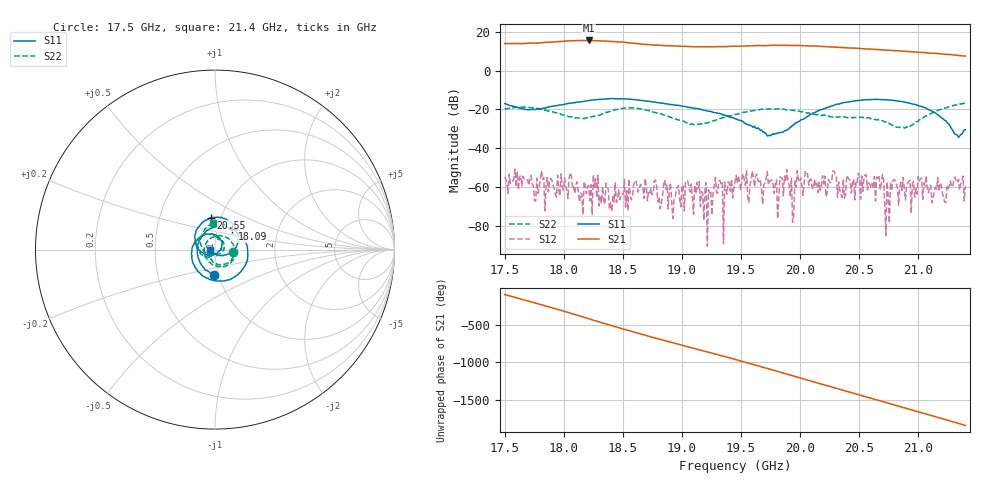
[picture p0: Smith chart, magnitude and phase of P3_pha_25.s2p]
!Created with skrf (http://scikit-rf.org).
# GHz S RI R 50.0
!freq ReS11 ImS11 ReS21 ImS21 ReS12 ImS12 ReS22 ImS22
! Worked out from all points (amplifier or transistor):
!   401 points, 17.5 GHz to 21.4 GHz, reference 50 ohm
!   highest |S21| = 15.6 dB at 18.21 GHz (marker M1)
!   |S21| within 3 dB of that: start of sweep to 18.97 GHz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
!   unconditionally stable (mu >= 1): start of sweep to end of sweep
!   at 18.14 GHz: K = 115.85, MAG = 15.7 dB, |S12| = -63.1 dB
!   at 19.45 GHz: K = 87.22, MAG = 12.7 dB, |S12| = -57.6 dB
!   at 21.4 GHz: K = 193.72, MAG = 7.7 dB, |S12| = -59.5 dB
!   S11 on the Smith chart (normalised r, x): 17.5 GHz: 0.95, -0.28; 18.09 GHz: 1.18, +0.27; 20.55 GHz: 0.90, +0.33; 21.4 GHz: 0.94, -0.00
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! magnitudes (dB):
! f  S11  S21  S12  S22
! 17.5 GHz  -16.9  14.0  -54.9  -19.8
! 18.09 GHz  -16.6  15.5  -63.5  -24.4
! 18.15 GHz  -16.0  15.6  -63.8  -24.7
! 18.21 GHz  -15.4  15.6  -59.3  -24.2
! 18.41 GHz  -14.4  15.2  -72.8  -20.7
! 18.77 GHz  -16.2  13.2  -56.7  -21.5
! 18.81 GHz  -16.5  13.2  -65.0  -22.2
! 19.05 GHz  -18.9  12.5  -56.9  -26.8
! 19.24 GHz  -20.9  12.3  -63.8  -26.6
! 19.3 GHz  -22.0  12.5  -63.2  -25.1
! 19.45 GHz  -24.7  12.7  -57.6  -22.6
! 19.74 GHz  -33.3  13.2  -56.7  -19.7
! 19.8 GHz  -32.4  13.1  -56.3  -19.7
! 19.89 GHz  -30.7  13.1  -51.0  -20.2
! 19.93 GHz  -29.0  13.1  -55.5  -20.5
! 19.98 GHz  -26.5  13.1  -51.7  -20.9
! 20.1 GHz  -22.3  12.7  -60.4  -22.4
! 20.55 GHz  -15.0  11.3  -53.6  -24.1
! 20.69 GHz  -14.9  10.8  -58.4  -25.9
! 20.74 GHz  -15.1  10.6  -57.4  -27.1
! 20.76 GHz  -15.2  10.6  -78.6  -27.2
! 21.4 GHz  -30.4  7.6  -59.5  -16.7
